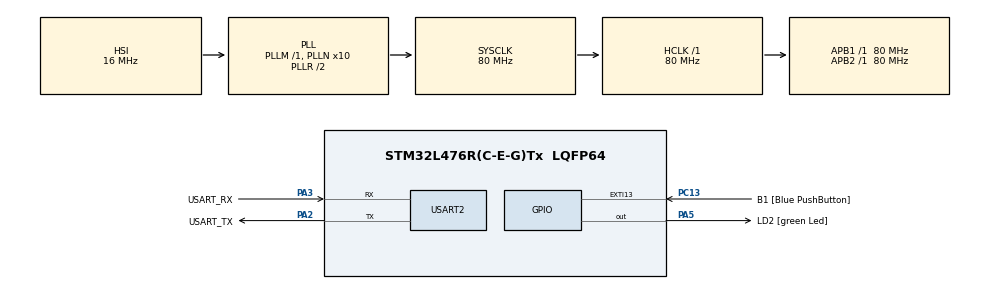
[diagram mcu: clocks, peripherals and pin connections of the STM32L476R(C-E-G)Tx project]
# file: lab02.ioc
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Dma.Request0=USART2_RX
Dma.Request1=USART2_TX
Dma.USART2_RX.0.Direction=DMA_PERIPH_TO_MEMORY
Dma.USART2_RX.0.Instance=DMA1_Channel6
Dma.USART2_RX.0.MemDataAlignment=DMA_MDATAALIGN_BYTE
Dma.USART2_RX.0.MemInc=DMA_MINC_ENABLE
Dma.USART2_RX.0.Mode=DMA_NORMAL
Dma.USART2_RX.0.PeriphDataAlignment=DMA_PDATAALIGN_BYTE
Dma.USART2_RX.0.PeriphInc=DMA_PINC_DISABLE
Dma.USART2_RX.0.Priority=DMA_PRIORITY_LOW
Dma.USART2_TX.1.Direction=DMA_MEMORY_TO_PERIPH
Dma.USART2_TX.1.Instance=DMA1_Channel7
Dma.USART2_TX.1.MemDataAlignment=DMA_MDATAALIGN_BYTE
Dma.USART2_TX.1.MemInc=DMA_MINC_ENABLE
Dma.USART2_TX.1.Mode=DMA_NORMAL
Dma.USART2_TX.1.PeriphDataAlignment=DMA_PDATAALIGN_BYTE
Dma.USART2_TX.1.PeriphInc=DMA_PINC_DISABLE
Dma.USART2_TX.1.Priority=DMA_PRIORITY_LOW
Mcu.Family=STM32L4
Mcu.Name=STM32L476R(C-E-G)Tx
Mcu.Package=LQFP64
NVIC.DMA1_Channel6_IRQn=true\:0\:0\:false\:false\:true\:false\:true
NVIC.DMA1_Channel7_IRQn=true\:0\:0\:false\:false\:true\:false\:true
NVIC.PriorityGroup=NVIC_PRIORITYGROUP_4
NVIC.USART2_IRQn=true\:0\:0\:false\:false\:true\:true\:true
PA13\ (JTMS-SWDIO).GPIO_Label=TMS
PA13\ (JTMS-SWDIO).Mode=Trace_Asynchronous_SW
PA13\ (JTMS-SWDIO).Signal=SYS_JTMS-SWDIO
PA14\ (JTCK-SWCLK).GPIO_Label=TCK
PA14\ (JTCK-SWCLK).Mode=Trace_Asynchronous_SW
PA14\ (JTCK-SWCLK).Signal=SYS_JTCK-SWCLK
PA2.GPIO_Label=USART_TX
PA2.GPIO_Mode=GPIO_MODE_AF_PP
PA2.GPIO_PuPd=GPIO_NOPULL
PA2.GPIO_Speed=GPIO_SPEED_FREQ_VERY_HIGH
PA2.Mode=Asynchronous
PA2.Signal=USART2_TX
PA3.GPIO_Label=USART_RX
PA3.GPIO_Mode=GPIO_MODE_AF_PP
PA3.GPIO_PuPd=GPIO_NOPULL
PA3.GPIO_Speed=GPIO_SPEED_FREQ_VERY_HIGH
PA3.Mode=Asynchronous
PA3.Signal=USART2_RX
PA5.GPIO_Label=LD2 [green Led]
PA5.GPIO_ModeDefaultOutputPP=GPIO_MODE_OUTPUT_PP
PA5.GPIO_PuPd=GPIO_NOPULL
PA5.GPIO_Speed=GPIO_SPEED_FREQ_LOW
PA5.Signal=GPIO_Output
PB3\ (JTDO-TRACESWO).Mode=Trace_Asynchronous_SW
PB3\ (JTDO-TRACESWO).Signal=SYS_JTDO-SWO
PC13.GPIO_Label=B1 [Blue PushButton]
PC13.GPIO_ModeDefaultEXTI=GPIO_MODE_IT_FALLING
PC13.GPIO_PuPd=GPIO_NOPULL
PC13.Signal=GPXTI13
PC14-OSC32_IN\ (PC14).Mode=LSE-External-Oscillator
PC14-OSC32_IN\ (PC14).Signal=RCC_OSC32_IN
PC15-OSC32_OUT\ (PC15).Mode=LSE-External-Oscillator
PC15-OSC32_OUT\ (PC15).Signal=RCC_OSC32_OUT
PH0-OSC_IN\ (PH0).Signal=RCC_OSC_IN
PH1-OSC_OUT\ (PH1).Signal=RCC_OSC_OUT
ProjectManager.HeapSize=0x200
ProjectManager.StackSize=0x400
ProjectManager.TargetToolchain=TrueSTUDIO
RCC.ADCFreq_Value=64000000
RCC.AHBFreq_Value=80000000
RCC.APB1Freq_Value=80000000
RCC.APB1TimFreq_Value=80000000
RCC.APB2Freq_Value=80000000
RCC.APB2TimFreq_Value=80000000
RCC.CortexFreq_Value=80000000
RCC.HCLKFreq_Value=80000000
RCC.HSE_VALUE=8000000
RCC.HSI_VALUE=16000000
RCC.MSI_VALUE=4000000
RCC.PLLN=10
RCC.PLLSourceVirtual=RCC_PLLSOURCE_HSI
RCC.PREFETCH_ENABLE=1
RCC.SYSCLKFreq_VALUE=80000000
RCC.SYSCLKSource=RCC_SYSCLKSOURCE_PLLCLK
RCC.USBFreq_Value=64000000
RCC.VCOOutputFreq_Value=160000000
USART2.VirtualMode-Asynchronous=VM_ASYNC
board=NUCLEO-L476RG

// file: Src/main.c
/* USER CODE BEGIN Header */
/**
  ******************************************************************************
  * @file           : main.c
  * @brief          : Main program body
  ******************************************************************************
  * @attention
  *
  * <h2><center>&copy; Copyright (c) 2020 STMicroelectronics.
  * All rights reserved.</center></h2>
  *
  * This software component is licensed by ST under BSD 3-Clause license,
  * the "License"; You may not use this file except in compliance with the
  * License. You may obtain a copy of the License at:
  *                        opensource.org/licenses/BSD-3-Clause
  *
  ******************************************************************************
  */
/* USER CODE END Header */

#include "main.h"
#include "dma.h"
#include "usart.h"
#include "gpio.h"

/* USER CODE BEGIN Includes */
#include "stdio.h"
/* USER CODE END Includes */

/* USER CODE BEGIN PD */
	uint32_t lsb;
	uint32_t msb;

/* USER CODE END PD */

/* USER CODE BEGIN PM */
	void foo(void){
		int local_variable;
		++lsb;
 		if(lsb>4){
			lsb=0;
			++msb;
		}

	}

	int _write( int file, char *ptr, int len){
		return len;
	}

	int _write_swv(int file, char *ptr, int len){

		for ( int i=0; i < len ; i++){
			ITM_SendChar(*ptr++);
		}
		return len;
	}
/* USER CODE END PM */

void SystemClock_Config(void);

int main(void)
{

  /* MCU Configuration--------------------------------------------------------*/

  /* Reset of all peripherals, Initializes the Flash interface and the Systick. */
  HAL_Init();

  /* Configure the system clock */
  SystemClock_Config();

  /* Initialize all configured peripherals */
  MX_GPIO_Init();
  MX_DMA_Init();
  MX_USART2_UART_Init();

  /* Infinite loop */
  while (1)
  {
	  _write_swv(32, "Hello", 5);
  }
}

void SystemClock_Config(void)
{
  RCC_OscInitTypeDef RCC_OscInitStruct = {0};
  RCC_ClkInitTypeDef RCC_ClkInitStruct = {0};
  RCC_PeriphCLKInitTypeDef PeriphClkInit = {0};

  /** Initializes the CPU, AHB and APB busses clocks
  */
  RCC_OscInitStruct.OscillatorType = RCC_OSCILLATORTYPE_HSI;
  RCC_OscInitStruct.HSIState = RCC_HSI_ON;
  RCC_OscInitStruct.HSICalibrationValue = RCC_HSICALIBRATION_DEFAULT;
  RCC_OscInitStruct.PLL.PLLState = RCC_PLL_ON;
  RCC_OscInitStruct.PLL.PLLSource = RCC_PLLSOURCE_HSI;
  RCC_OscInitStruct.PLL.PLLM = 1;
  RCC_OscInitStruct.PLL.PLLN = 10;
  RCC_OscInitStruct.PLL.PLLP = RCC_PLLP_DIV7;
  RCC_OscInitStruct.PLL.PLLQ = RCC_PLLQ_DIV2;
  RCC_OscInitStruct.PLL.PLLR = RCC_PLLR_DIV2;
  if (HAL_RCC_OscConfig(&RCC_OscInitStruct) != HAL_OK)
  {
    Error_Handler();
  }
  /** Initializes the CPU, AHB and APB busses clocks
  */
  RCC_ClkInitStruct.ClockType = RCC_CLOCKTYPE_HCLK|RCC_CLOCKTYPE_SYSCLK
                              |RCC_CLOCKTYPE_PCLK1|RCC_CLOCKTYPE_PCLK2;
  RCC_ClkInitStruct.SYSCLKSource = RCC_SYSCLKSOURCE_PLLCLK;
  RCC_ClkInitStruct.AHBCLKDivider = RCC_SYSCLK_DIV1;
  RCC_ClkInitStruct.APB1CLKDivider = RCC_HCLK_DIV1;
  RCC_ClkInitStruct.APB2CLKDivider = RCC_HCLK_DIV1;

  if (HAL_RCC_ClockConfig(&RCC_ClkInitStruct, FLASH_LATENCY_4) != HAL_OK)
  {
    Error_Handler();
  }
  PeriphClkInit.PeriphClockSelection = RCC_PERIPHCLK_USART2;
  PeriphClkInit.Usart2ClockSelection = RCC_USART2CLKSOURCE_PCLK1;
  if (HAL_RCCEx_PeriphCLKConfig(&PeriphClkInit) != HAL_OK)
  {
    Error_Handler();
  }
  /** Configure the main internal regulator output voltage
  */
  if (HAL_PWREx_ControlVoltageScaling(PWR_REGULATOR_VOLTAGE_SCALE1) != HAL_OK)
  {
    Error_Handler();
  }
}

void Error_Handler(void)
{
}

/************************ (C) COPYRIGHT STMicroelectronics *****END OF FILE****/
